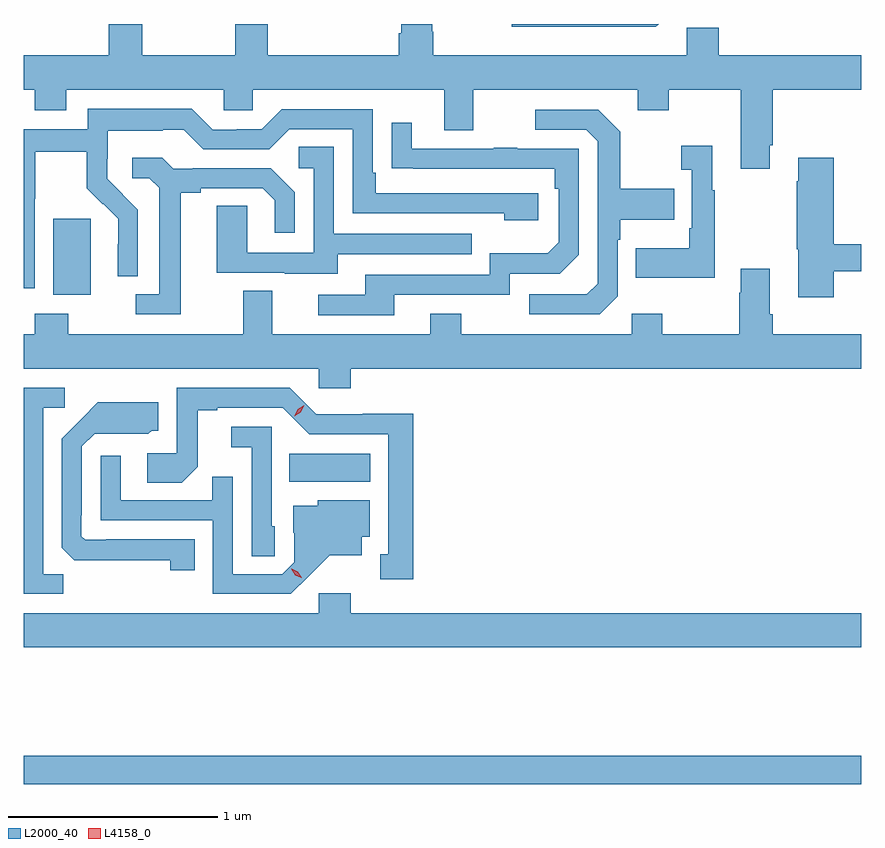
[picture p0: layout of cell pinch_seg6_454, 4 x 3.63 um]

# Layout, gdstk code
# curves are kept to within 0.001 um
import gdstk
lib = gdstk.Library(unit=1e-6, precision=1e-09)
def R(c, l, rs):  # rectangles x0, y0, x1, y1
    for r in rs: c.add(gdstk.rectangle(r[:2], r[2:], *l))
def P(c, l, *ps):  # polygons
    for p in ps: c.add(gdstk.Polygon(p, *l))
L2000_40 = (2000, 40)
L4158_0 = (4158, 0)

pinch_seg6_454 = lib.new_cell('pinch_seg6_454')
R(pinch_seg6_454, L2000_40, [(730.171,929.368,734.171,929.504), (731.44,930.812,731.827,930.946), (730.313,931.706,730.492,932.067)])
P(pinch_seg6_454, L2000_40, [(733.204,932.998),(732.501,932.998),(732.501,932.984),(733.19,932.984)],
  [(733.735,932.419),(733.748,932.419),(733.748,932.684),(734.171,932.684),(734.171,932.848),(733.49,932.848),(733.49,932.98),(733.338,932.98),(733.338,932.848),(732.128,932.848),(732.128,932.961),(732.123,932.961),(732.123,932.998),(731.975,932.998),(731.975,932.954),(731.963,932.954),(731.963,932.848),(731.337,932.848),(731.337,932.998),(731.182,932.998),(731.182,932.848),(730.737,932.848),(730.737,932.998),(730.577,932.998),(730.577,932.848),(730.171,932.848),(730.171,932.684),(730.223,932.684),(730.223,932.585),(730.375,932.585),(730.375,932.684),(731.127,932.684),(731.127,932.586),(731.265,932.586),(731.265,932.684),(732.179,932.684),(732.179,932.49),(732.319,932.49),(732.319,932.684),(733.103,932.684),(733.103,932.585),(733.251,932.585),(733.251,932.684),(733.595,932.684),(733.595,932.307),(733.735,932.307)],
  [(730.224,932.164),(730.227,932.164),(730.227,932.388),(730.471,932.388),(730.471,932.213),(730.548,932.136),(730.551,932.139),(730.622,932.069),(730.622,931.946),(730.62,931.946),(730.62,931.792),(730.716,931.792),(730.716,932.11),(730.57,932.258),(730.57,932.355),(730.572,932.355),(730.572,932.489),(730.835,932.489),(730.835,932.493),(730.935,932.493),(731.028,932.4),(731.343,932.4),(731.439,932.496),(731.742,932.496),(731.742,932.094),(732.467,932.094),(732.467,932.06),(732.628,932.06),(732.628,932.19),(731.851,932.19),(731.851,932.287),(731.838,932.287),(731.838,932.592),(731.403,932.592),(731.307,932.496),(731.189,932.496),(731.189,932.493),(731.073,932.493),(730.973,932.593),(730.476,932.593),(730.476,932.496),(730.171,932.496),(730.171,931.735),(730.224,931.735)],
  [(733.008,931.698),(733.008,931.967),(733.021,931.967),(733.021,932.063),(733.277,932.063),(733.277,932.211),(733.021,932.211),(733.021,932.483),(732.915,932.589),(732.615,932.589),(732.615,932.493),(732.858,932.493),(732.912,932.439),(732.912,931.758),(732.861,931.707),(732.585,931.707),(732.585,931.611),(732.921,931.611)],
  [(731.941,931.704),(732.492,931.704),(732.492,931.806),(732.732,931.806),(732.822,931.896),(732.822,932.403),(732.527,932.403),(732.527,932.408),(732.415,932.408),(732.415,932.403),(732.025,932.403),(732.025,932.527),(731.929,932.527),(731.929,932.308),(732.706,932.307),(732.706,932.21),(732.726,932.21),(732.726,931.956),(732.673,931.903),(732.396,931.903),(732.396,931.8),(731.801,931.8),(731.801,931.704),(731.577,931.704),(731.577,931.608),(731.941,931.608)],
  [(733.471,932.203),(733.459,932.203),(733.459,932.416),(733.311,932.416),(733.311,932.303),(733.362,932.303),(733.362,932.023),(733.35,932.023),(733.35,931.927),(733.093,931.927),(733.093,931.787),(733.471,931.787)],
  [(731.671,931.899),(732.311,931.899),(732.311,931.995),(731.652,931.995),(731.652,932.411),(731.484,932.411),(731.484,932.31),(731.556,932.31),(731.556,931.905),(731.238,931.905),(731.238,932.129),(731.093,932.129),(731.093,931.809),(731.417,931.809),(731.417,931.805),(731.671,931.805)],
  [(730.921,932.192),(731.017,932.192),(731.017,932.214),(731.312,932.214),(731.369,932.157),(731.369,932.001),(731.466,932.001),(731.466,932.194),(731.35,932.31),(730.978,932.31),(730.978,932.307),(730.884,932.307),(730.832,932.359),(730.689,932.359),(730.689,932.262),(730.77,932.262),(730.817,932.215),(730.817,931.707),(730.707,931.707),(730.707,931.611),(730.921,931.611)],
  [(734.039,931.818),(734.171,931.818),(734.171,931.946),(734.039,931.946),(734.039,932.359),(733.871,932.359),(733.871,932.246),(733.864,932.246),(733.864,931.923),(733.871,931.923),(733.871,931.692),(734.039,931.692)],
  [(731.732,931.352),(734.171,931.352),(734.171,931.516),(733.748,931.516),(733.748,931.612),(733.735,931.612),(733.735,931.828),(733.595,931.828),(733.595,931.715),(733.588,931.715),(733.588,931.516),(733.221,931.516),(733.221,931.615),(733.074,931.615),(733.074,931.516),(732.261,931.516),(732.261,931.615),(732.113,931.615),(732.113,931.516),(731.359,931.516),(731.359,931.724),(731.219,931.724),(731.219,931.516),(730.383,931.516),(730.383,931.615),(730.223,931.615),(730.223,931.516),(730.171,931.516),(730.171,931.352),(731.58,931.352),(731.58,931.259),(731.732,931.259)],
  [(732.031,931.136),(731.79,931.136),(731.79,931.134),(731.568,931.134),(731.442,931.26),(730.902,931.26),(730.902,930.948),(730.761,930.948),(730.761,930.808),(730.925,930.808),(731.001,930.884),(731.001,931.152),(731.095,931.152),(731.095,931.164),(731.409,931.164),(731.535,931.038),(731.912,931.038),(731.912,930.465),(731.873,930.465),(731.873,930.345),(732.031,930.345)],
  [(730.359,930.371),(730.263,930.371),(730.263,931.164),(730.366,931.164),(730.366,931.26),(730.171,931.26),(730.171,930.276),(730.359,930.276)],
  [(730.988,930.537),(730.564,930.537),(730.564,930.534),(730.464,930.534),(730.446,930.552),(730.446,930.652),(730.449,930.652),(730.449,930.981),(730.509,931.041),(730.766,931.04),(730.782,931.056),(730.813,931.056),(730.813,931.192),(730.525,931.192),(730.353,931.018),(730.353,930.496),(730.412,930.437),(730.87,930.436),(730.87,930.39),(730.988,930.39)],
  [(731.37,930.6),(731.355,930.6),(731.355,931.074),(731.163,931.074),(731.163,930.977),(731.259,930.977),(731.259,930.457),(731.37,930.457)],
  [(731.53,930.359),(731.633,930.461),(731.785,930.461),(731.785,930.548),(731.824,930.548),(731.824,930.724),(731.574,930.724),(731.574,930.697),(731.459,930.697),(731.459,930.568),(731.463,930.568),(731.463,930.426),(731.406,930.369),(731.169,930.369),(731.169,930.836),(731.071,930.836),(731.071,930.723),(730.635,930.723),(730.635,930.937),(730.539,930.937),(730.539,930.627),(731.073,930.627),(731.073,930.276),(731.446,930.276)],
  [(734.171,930.184),(731.732,930.184),(731.732,930.28),(731.58,930.28),(731.58,930.184),(730.171,930.184),(730.171,930.02),(734.171,930.02)])
P(pinch_seg6_454, L4158_0, [(731.462,931.124),(731.462,931.125),(731.479,931.158),(731.51,931.177),(731.51,931.177),(731.51,931.177),(731.493,931.144),(731.462,931.124)],
  [(731.497,930.352),(731.467,930.366),(731.449,930.396),(731.449,930.396),(731.45,930.396),(731.48,930.381),(731.498,930.352),(731.498,930.352)])

lib.write_gds('pinch_seg6_454.gds')
